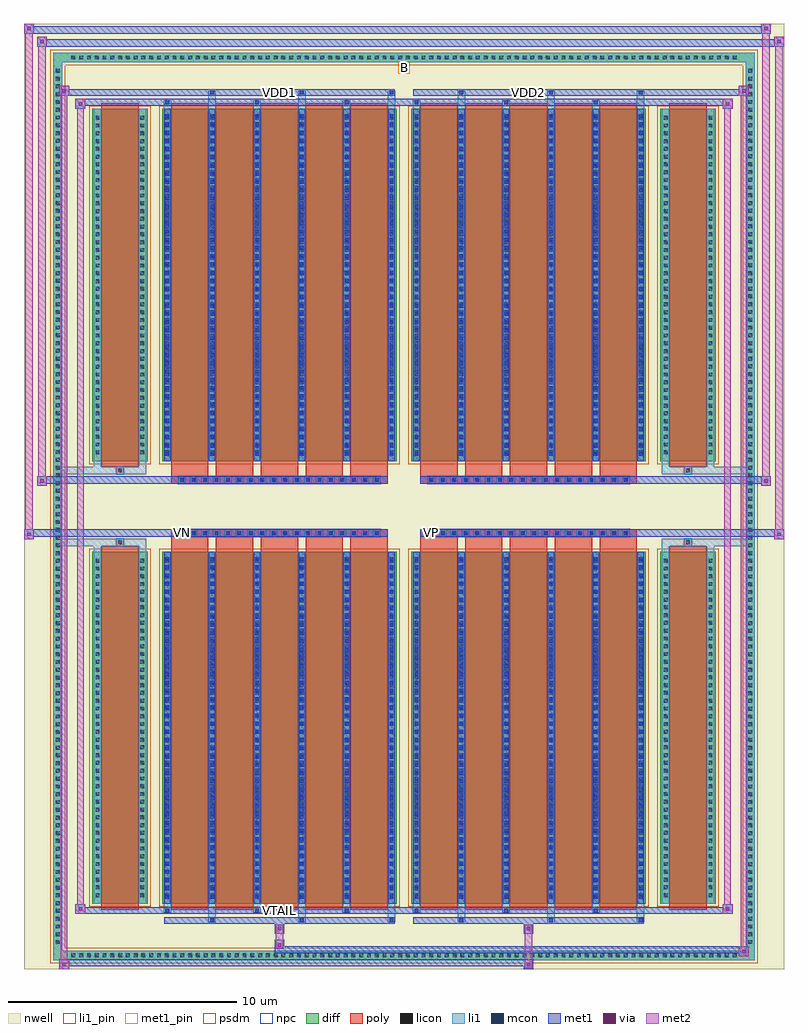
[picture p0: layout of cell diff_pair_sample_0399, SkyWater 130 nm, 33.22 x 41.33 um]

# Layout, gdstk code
import gdstk
lib = gdstk.Library(unit=1e-6, precision=5e-09)
def R(c, l, rs):  # rectangles x0, y0, x1, y1
    for r in rs: c.add(gdstk.rectangle(r[:2], r[2:], *l))
def A(c, l, x, y, w, h, nx, ny, dx, dy):  # array of equal rectangles
    R(c, l, [(x+i*dx, y+j*dy, x+i*dx+w, y+j*dy+h) for i in range(nx) for j in range(ny)])
def P(c, l, *ps):  # polygons
    for p in ps: c.add(gdstk.Polygon(p, *l))
nwell = (64, 20)
diff = (65, 20)
poly = (66, 20)
licon = (66, 44)
li1_pin = (67, 16)
li1 = (67, 20)
mcon = (67, 44)
met1_pin = (68, 16)
met1 = (68, 20)
via = (68, 44)
met2 = (69, 20)
psdm = (94, 20)
npc = (95, 20)

diff_pair_sample_0399 = lib.new_cell('diff_pair_sample_0399')
R(diff_pair_sample_0399, nwell, [(-16.61,-20.23,16.61,21.1), (-13.93,-18.42,-0.01,-0.8), (0.01,-18.42,13.93,-0.8), (-13.93,0.8,-0.01,18.42), (0.01,0.8,13.93,18.42)])
A(diff_pair_sample_0399, diff, -14.655, -19.83, 0.41, 0.41, 86, 2, 0.34, 39.25)
A(diff_pair_sample_0399, diff, -15.34, -19.245, 0.41, 0.41, 1, 113, 0, 0.34)
A(diff_pair_sample_0399, diff, 14.93, -19.245, 0.41, 0.41, 1, 113, 0, 0.34)
R(diff_pair_sample_0399, diff, [(-14.655,-19.83,14.655,-19.42), (-15.34,-19.245,-14.93,19.245), (14.93,-19.245,15.34,19.245), (-13.62,-17.375,-11.21,-1.985), (-10.57,-17.375,-0.32,-1.985), (0.32,-17.375,10.57,-1.985), (11.21,-17.375,13.62,-1.985), (-13.62,1.985,-11.21,17.375), (-10.57,1.985,-0.32,17.375), (0.32,1.985,10.57,17.375), (11.21,1.985,13.62,17.375), (-14.655,19.42,14.655,19.83)])
P(diff_pair_sample_0399, diff, [(15.34,19.83),(-15.34,19.83),(-15.34,-19.42),(-14.93,-19.42),(-14.93,19.42),(14.93,19.42),(14.93,-19.42),(-14.93,-19.42),(-15.34,-19.42),(-15.34,-19.83),(15.34,-19.83)])
A(diff_pair_sample_0399, poly, -10.18, -17.625, 1.63, 15.89, 5, 2, 1.96, 19.36)
A(diff_pair_sample_0399, poly, 0.71, -17.625, 1.63, 15.89, 5, 2, 1.96, 19.36)
A(diff_pair_sample_0399, poly, -10.18, -1.735, 1.63, 0.405, 5, 2, 1.96, 3.065)
A(diff_pair_sample_0399, poly, 0.71, -1.735, 1.63, 0.405, 5, 2, 1.96, 3.065)
A(diff_pair_sample_0399, poly, -9.86, -1.33, 0.33, 0.33, 18, 2, 0.5, 2.33)
A(diff_pair_sample_0399, poly, 1.03, -1.33, 0.33, 0.33, 18, 2, 0.5, 2.33)
R(diff_pair_sample_0399, poly, [(-13.23,-17.625,-11.6,-1.735), (11.6,-17.625,13.23,-1.735), (-12.58,-1.735,-12.25,-1.405), (-12.58,-1.735,-12.25,-1.405), (12.25,-1.735,12.58,-1.405), (12.25,-1.735,12.58,-1.405), (-10.18,-1.33,-0.71,-1), (0.71,-1.33,10.18,-1), (-10.18,1,-0.71,1.33), (0.71,1,10.18,1.33), (-12.58,1.405,-12.25,1.735), (-12.58,1.405,-12.25,1.735), (12.25,1.405,12.58,1.735), (12.25,1.405,12.58,1.735), (-13.23,1.735,-11.6,17.625), (11.6,1.735,13.23,17.625)])
A(diff_pair_sample_0399, licon, -14.535, -19.71, 0.17, 0.17, 86, 2, 0.34, 39.25)
A(diff_pair_sample_0399, licon, -15.22, -19.125, 0.17, 0.17, 1, 113, 0, 0.34)
A(diff_pair_sample_0399, licon, 15.05, -19.125, 0.17, 0.17, 1, 113, 0, 0.34)
A(diff_pair_sample_0399, licon, -13.48, -17.075, 0.17, 0.17, 1, 44, 0, 0.34)
A(diff_pair_sample_0399, licon, -11.52, -17.075, 0.17, 0.17, 1, 44, 0, 0.34)
A(diff_pair_sample_0399, licon, -10.43, -17.075, 0.17, 0.17, 6, 44, 1.96, 0.34)
A(diff_pair_sample_0399, licon, 0.46, -17.075, 0.17, 0.17, 6, 44, 1.96, 0.34)
A(diff_pair_sample_0399, licon, 11.35, -17.075, 0.17, 0.17, 1, 44, 0, 0.34)
A(diff_pair_sample_0399, licon, 13.31, -17.075, 0.17, 0.17, 1, 44, 0, 0.34)
A(diff_pair_sample_0399, licon, -9.78, -1.25, 0.17, 0.17, 18, 2, 0.5, 2.33)
A(diff_pair_sample_0399, licon, 1.11, -1.25, 0.17, 0.17, 18, 2, 0.5, 2.33)
A(diff_pair_sample_0399, licon, -13.48, 2.285, 0.17, 0.17, 1, 44, 0, 0.34)
A(diff_pair_sample_0399, licon, -11.52, 2.285, 0.17, 0.17, 1, 44, 0, 0.34)
A(diff_pair_sample_0399, licon, -10.43, 2.285, 0.17, 0.17, 6, 44, 1.96, 0.34)
A(diff_pair_sample_0399, licon, 0.46, 2.285, 0.17, 0.17, 6, 44, 1.96, 0.34)
A(diff_pair_sample_0399, licon, 11.35, 2.285, 0.17, 0.17, 1, 44, 0, 0.34)
A(diff_pair_sample_0399, licon, 13.31, 2.285, 0.17, 0.17, 1, 44, 0, 0.34)
R(diff_pair_sample_0399, licon, [(-12.5,-1.655,-12.33,-1.485), (12.33,-1.655,12.5,-1.485), (-12.5,1.485,-12.33,1.655), (12.33,1.485,12.5,1.655)])
R(diff_pair_sample_0399, li1_pin, [(-0.25,18.92,0.25,19.42)])
A(diff_pair_sample_0399, li1, -14.615, -19.79, 0.33, 0.33, 86, 2, 0.34, 39.25)
A(diff_pair_sample_0399, li1, -15.3, -19.205, 0.33, 0.33, 1, 113, 0, 0.34)
A(diff_pair_sample_0399, li1, 14.97, -19.205, 0.33, 0.33, 1, 113, 0, 0.34)
A(diff_pair_sample_0399, li1, -8.55, -18.18, 0.33, 0.805, 3, 2, 3.92, 35.555)
A(diff_pair_sample_0399, li1, -8.47, -18.18, 0.17, 0.17, 3, 2, 3.92, 36.19)
A(diff_pair_sample_0399, li1, 2.34, -18.18, 0.33, 0.805, 3, 2, 3.92, 35.555)
A(diff_pair_sample_0399, li1, 2.42, -18.18, 0.17, 0.17, 3, 2, 3.92, 36.19)
A(diff_pair_sample_0399, li1, -10.51, -17.75, 0.33, 0.375, 3, 2, 3.92, 35.125)
A(diff_pair_sample_0399, li1, -10.43, -17.75, 0.17, 0.17, 3, 2, 3.92, 35.33)
A(diff_pair_sample_0399, li1, 0.38, -17.75, 0.33, 0.375, 3, 2, 3.92, 35.125)
A(diff_pair_sample_0399, li1, 0.46, -17.75, 0.17, 0.17, 3, 2, 3.92, 35.33)
A(diff_pair_sample_0399, li1, -10.51, -17.375, 0.33, 15.39, 6, 2, 1.96, 19.36)
A(diff_pair_sample_0399, li1, 0.38, -17.375, 0.33, 15.39, 6, 2, 1.96, 19.36)
A(diff_pair_sample_0399, li1, -13.56, -17.155, 0.33, 0.33, 1, 44, 0, 0.34)
A(diff_pair_sample_0399, li1, -11.6, -17.155, 0.33, 0.33, 1, 44, 0, 0.34)
A(diff_pair_sample_0399, li1, -10.51, -17.155, 0.33, 0.33, 6, 44, 1.96, 0.34)
A(diff_pair_sample_0399, li1, 0.38, -17.155, 0.33, 0.33, 6, 44, 1.96, 0.34)
A(diff_pair_sample_0399, li1, 11.27, -17.155, 0.33, 0.33, 1, 44, 0, 0.34)
A(diff_pair_sample_0399, li1, 13.23, -17.155, 0.33, 0.33, 1, 44, 0, 0.34)
A(diff_pair_sample_0399, li1, -10.43, -17.145, 0.17, 0.17, 6, 42, 1.96, 0.36)
A(diff_pair_sample_0399, li1, -10.43, -17.145, 0.17, 14.93, 6, 2, 1.96, 19.36)
A(diff_pair_sample_0399, li1, 0.46, -17.145, 0.17, 0.17, 6, 42, 1.96, 0.36)
A(diff_pair_sample_0399, li1, 0.46, -17.145, 0.17, 14.93, 6, 2, 1.96, 19.36)
A(diff_pair_sample_0399, li1, -9.86, -1.33, 0.33, 0.33, 18, 2, 0.5, 2.33)
A(diff_pair_sample_0399, li1, 1.03, -1.33, 0.33, 0.33, 18, 2, 0.5, 2.33)
A(diff_pair_sample_0399, li1, -13.56, 2.205, 0.33, 0.33, 1, 44, 0, 0.34)
A(diff_pair_sample_0399, li1, -11.6, 2.205, 0.33, 0.33, 1, 44, 0, 0.34)
A(diff_pair_sample_0399, li1, -10.51, 2.205, 0.33, 0.33, 6, 44, 1.96, 0.34)
A(diff_pair_sample_0399, li1, 0.38, 2.205, 0.33, 0.33, 6, 44, 1.96, 0.34)
A(diff_pair_sample_0399, li1, 11.27, 2.205, 0.33, 0.33, 1, 44, 0, 0.34)
A(diff_pair_sample_0399, li1, 13.23, 2.205, 0.33, 0.33, 1, 44, 0, 0.34)
A(diff_pair_sample_0399, li1, -10.43, 2.215, 0.17, 0.17, 6, 42, 1.96, 0.36)
A(diff_pair_sample_0399, li1, 0.46, 2.215, 0.17, 0.17, 6, 42, 1.96, 0.36)
R(diff_pair_sample_0399, li1, [(-15.34,-19.83,-14.93,-19.42), (-15.34,-19.83,-14.93,-19.42), (-14.93,-19.83,14.93,-19.42), (14.93,-19.83,15.34,-19.42), (14.93,-19.83,15.34,-19.42), (-15.34,-19.42,-14.93,19.42), (14.93,-19.42,15.34,19.42), (-13.56,-17.375,-13.23,-1.985), (-11.6,-17.375,-11.27,-1.985), (11.27,-17.375,11.6,-1.985), (13.23,-17.375,13.56,-1.985), (-13.56,-1.985,-13.23,-1.405), (-11.6,-1.985,-11.27,-1.405), (11.27,-1.985,11.6,-1.405), (13.23,-1.985,13.56,-1.405), (-15.34,-1.735,-12.58,-1.405), (-13.56,-1.735,-12.58,-1.405), (-12.58,-1.735,-12.25,-1.405), (-12.25,-1.735,-11.27,-1.405), (11.27,-1.735,12.25,-1.405), (12.25,-1.735,12.58,-1.405), (12.25,-1.735,15.34,-1.405), (12.58,-1.735,13.56,-1.405), (-15.34,1.405,-12.58,1.735), (-13.56,1.405,-12.58,1.735), (-13.56,1.405,-13.23,1.985), (-12.58,1.405,-12.25,1.735), (-12.25,1.405,-11.27,1.735), (-11.6,1.405,-11.27,1.985), (11.27,1.405,12.25,1.735), (11.27,1.405,11.6,1.985), (12.25,1.405,12.58,1.735), (12.25,1.405,15.34,1.735), (12.58,1.405,13.56,1.735), (13.23,1.405,13.56,1.985), (-13.56,1.985,-13.23,17.375), (-11.6,1.985,-11.27,17.375), (11.27,1.985,11.6,17.375), (13.23,1.985,13.56,17.375), (-15.34,19.42,-14.93,19.83), (-15.34,19.42,-14.93,19.83), (-14.93,19.42,14.93,19.83), (14.93,19.42,15.34,19.83), (14.93,19.42,15.34,19.83)])
A(diff_pair_sample_0399, mcon, -8.47, -18.18, 0.17, 0.17, 3, 2, 3.92, 36.19)
A(diff_pair_sample_0399, mcon, 2.42, -18.18, 0.17, 0.17, 3, 2, 3.92, 36.19)
A(diff_pair_sample_0399, mcon, -10.43, -17.75, 0.17, 0.17, 3, 2, 3.92, 35.33)
A(diff_pair_sample_0399, mcon, 0.46, -17.75, 0.17, 0.17, 3, 2, 3.92, 35.33)
A(diff_pair_sample_0399, mcon, -10.43, -17.145, 0.17, 0.17, 6, 42, 1.96, 0.36)
A(diff_pair_sample_0399, mcon, 0.46, -17.145, 0.17, 0.17, 6, 42, 1.96, 0.36)
A(diff_pair_sample_0399, mcon, -9.78, -1.25, 0.17, 0.17, 18, 2, 0.5, 2.33)
A(diff_pair_sample_0399, mcon, 1.11, -1.25, 0.17, 0.17, 18, 2, 0.5, 2.33)
A(diff_pair_sample_0399, mcon, -10.43, 2.215, 0.17, 0.17, 6, 42, 1.96, 0.36)
A(diff_pair_sample_0399, mcon, 0.46, 2.215, 0.17, 0.17, 6, 42, 1.96, 0.36)
R(diff_pair_sample_0399, met1_pin, [(-5.58,-17.79,-5.31,-17.52), (-9.83,-1.29,-9.56,-1.02), (1.06,-1.29,1.33,-1.02), (-5.58,17.97,-5.31,18.24), (5.31,17.97,5.58,18.24)])
A(diff_pair_sample_0399, met1, -8.53, -18.24, 0.29, 0.29, 3, 2, 3.92, 36.19)
A(diff_pair_sample_0399, met1, 2.36, -18.24, 0.29, 0.29, 3, 2, 3.92, 36.19)
A(diff_pair_sample_0399, met1, -10.49, -17.81, 0.29, 0.29, 3, 2, 3.92, 35.33)
A(diff_pair_sample_0399, met1, 0.4, -17.81, 0.29, 0.29, 3, 2, 3.92, 35.33)
A(diff_pair_sample_0399, met1, -10.49, -17.375, 0.29, 15.39, 6, 2, 1.96, 19.36)
A(diff_pair_sample_0399, met1, 0.4, -17.375, 0.29, 15.39, 6, 2, 1.96, 19.36)
A(diff_pair_sample_0399, met1, -10.49, -17.205, 0.29, 0.29, 6, 42, 1.96, 0.36)
A(diff_pair_sample_0399, met1, 0.4, -17.205, 0.29, 0.29, 6, 42, 1.96, 0.36)
A(diff_pair_sample_0399, met1, -9.84, -1.31, 0.29, 0.29, 18, 2, 0.5, 2.33)
A(diff_pair_sample_0399, met1, 1.05, -1.31, 0.29, 0.29, 18, 2, 0.5, 2.33)
A(diff_pair_sample_0399, met1, -10.49, 2.155, 0.29, 0.29, 6, 42, 1.96, 0.36)
A(diff_pair_sample_0399, met1, 0.4, 2.155, 0.29, 0.29, 6, 42, 1.96, 0.36)
R(diff_pair_sample_0399, met1, [(-15.07,-20.23,-14.64,-19.8), (5.23,-20.23,5.66,-19.8), (-15.07,-20.09,5.66,-19.8), (14.64,-19.66,15.07,-19.23), (-5.66,-19.52,15.07,-19.23), (-5.66,-19.38,-5.23,-18.95), (-5.66,-18.67,-5.23,-18.24), (5.23,-18.67,5.66,-18.24), (-10.49,-18.24,-0.4,-17.95), (0.4,-18.24,10.49,-17.95), (-14.36,-17.81,-13.93,-17.38), (-14.36,-17.81,-10.49,-17.52), (-10.49,-17.81,-0.4,-17.52), (-0.4,-17.81,0.4,-17.52), (0.4,-17.81,10.49,-17.52), (10.49,-17.81,14.36,-17.52), (13.93,-17.81,14.36,-17.38), (-16.61,-1.43,-16.18,-1), (16.18,-1.43,16.61,-1), (-16.61,-1.33,-0.71,-1), (-10.18,-1.33,-0.71,-1), (0.71,-1.33,10.18,-1), (0.71,-1.33,16.61,-1), (-16.04,0.9,-15.61,1.33), (15.61,0.9,16.04,1.33), (-16.04,1,-10.18,1.33), (-10.18,1,-0.71,1.33), (0.71,1,10.18,1.33), (10.18,1,16.04,1.33), (-14.36,17.38,-13.93,17.81), (13.93,17.38,14.36,17.81), (-14.36,17.52,-10.49,17.81), (-10.49,17.52,-0.4,17.81), (-0.4,17.52,0.4,17.81), (0.4,17.52,10.49,17.81), (10.49,17.52,14.36,17.81), (-15.07,17.95,-14.64,18.38), (-15.07,17.95,-10.49,18.24), (-10.49,17.95,-0.4,18.24), (0.4,17.95,10.49,18.24), (10.49,17.95,15.07,18.24), (14.64,17.95,15.07,18.38), (-16.04,20.1,-15.61,20.53), (-16.04,20.1,-13.93,20.43), (-13.93,20.1,13.93,20.43), (13.93,20.1,16.61,20.43), (16.18,20.1,16.61,20.53), (-16.61,20.67,-16.18,21.1), (-16.61,20.67,-13.93,21), (-13.93,20.67,13.93,21), (13.93,20.67,16.04,21), (15.61,20.67,16.04,21.1)])
R(diff_pair_sample_0399, via, [(-14.93,-20.09,-14.78,-19.94), (5.37,-20.09,5.52,-19.94), (14.78,-19.52,14.93,-19.37), (-5.52,-19.24,-5.37,-19.09), (-5.52,-18.53,-5.37,-18.38), (5.37,-18.53,5.52,-18.38), (-14.22,-17.67,-14.07,-17.52), (14.07,-17.67,14.22,-17.52), (-16.47,-1.29,-16.32,-1.14), (16.32,-1.29,16.47,-1.14), (-15.9,1.04,-15.75,1.19), (15.75,1.04,15.9,1.19), (-14.22,17.52,-14.07,17.67), (14.07,17.52,14.22,17.67), (-14.93,18.09,-14.78,18.24), (14.78,18.09,14.93,18.24), (-15.9,20.24,-15.75,20.39), (16.32,20.24,16.47,20.39), (-16.47,20.81,-16.32,20.96), (15.75,20.81,15.9,20.96)])
R(diff_pair_sample_0399, met2, [(-15.07,-20.23,-14.64,-19.8), (-15,-20.23,-14.71,18.38), (-14.71,-20.23,-14.64,-19.8), (-15.02,-20.18,-14.69,-19.85), (5.28,-20.18,5.61,-19.85), (5.28,-19.85,5.61,-18.62), (14.64,-19.66,15.07,-19.23), (14.71,-19.66,15,18.38), (15,-19.66,15.07,-19.23), (14.69,-19.61,15.02,-19.28), (-5.61,-19.33,-5.28,-19), (-5.61,-19,-5.28,-18.62), (-5.61,-18.62,-5.28,-18.29), (5.28,-18.62,5.61,-18.29), (-14.36,-17.81,-13.93,-17.38), (-14.29,-17.81,-14,17.81), (-14,-17.81,-13.93,-17.38), (13.93,-17.81,14.36,-17.38), (14,-17.81,14.29,17.81), (14.29,-17.81,14.36,-17.38), (-14.31,-17.76,-13.98,-17.43), (13.98,-17.76,14.31,-17.43), (-16.61,-1.43,-16.18,-1), (-16.56,-1.43,-16.23,21.1), (-16.23,-1.43,-16.18,-1), (16.18,-1.43,16.61,-1), (16.23,-1.43,16.56,20.53), (16.56,-1.43,16.61,-1), (-16.56,-1.38,-16.23,-1.05), (16.23,-1.38,16.56,-1.05), (-16.04,0.9,-15.61,1.33), (-15.99,0.9,-15.66,20.53), (-15.66,0.9,-15.61,1.33), (15.61,0.9,16.04,1.33), (15.66,0.9,15.99,21.1), (15.99,0.9,16.04,1.33), (-15.99,0.95,-15.66,1.28), (15.66,0.95,15.99,1.28), (-14.36,17.38,-13.93,17.81), (-14,17.38,-13.93,17.81), (13.93,17.38,14.36,17.81), (14.29,17.38,14.36,17.81), (-14.31,17.43,-13.98,17.76), (13.98,17.43,14.31,17.76), (-15.07,17.95,-14.64,18.38), (-14.71,17.95,-14.64,18.38), (14.64,17.95,15.07,18.38), (15,17.95,15.07,18.38), (-15.02,18,-14.69,18.33), (14.69,18,15.02,18.33), (-16.04,20.1,-15.61,20.53), (-15.66,20.1,-15.61,20.53), (16.18,20.1,16.61,20.53), (16.56,20.1,16.61,20.53), (-15.99,20.15,-15.66,20.48), (16.23,20.15,16.56,20.48), (-16.61,20.67,-16.18,21.1), (-16.23,20.67,-16.18,21.1), (15.61,20.67,16.04,21.1), (15.99,20.67,16.04,21.1), (-16.56,20.72,-16.23,21.05), (15.66,20.72,15.99,21.05)])
R(diff_pair_sample_0399, psdm, [(-13.75,-17.505,-11.08,-1.855), (-10.7,-17.505,-0.19,-1.855), (0.19,-17.505,10.7,-1.855), (11.08,-17.505,13.75,-1.855), (-13.75,1.855,-11.08,17.505), (-10.7,1.855,-0.19,17.505), (0.19,1.855,10.7,17.505), (11.08,1.855,13.75,17.505)])
P(diff_pair_sample_0399, psdm, [(15.47,19.96),(-15.47,19.96),(-15.47,-19.29),(-14.8,-19.29),(-14.8,19.29),(14.8,19.29),(14.8,-19.29),(-14.8,-19.29),(-15.47,-19.29),(-15.47,-19.96),(15.47,-19.96)])
A(diff_pair_sample_0399, npc, -9.88, -1.35, 0.37, 0.37, 18, 2, 0.5, 2.33)
A(diff_pair_sample_0399, npc, 1.01, -1.35, 0.37, 0.37, 18, 2, 0.5, 2.33)
R(diff_pair_sample_0399, npc, [(-12.6,-1.755,-12.23,-1.385), (12.23,-1.755,12.6,-1.385), (-9.88,-1.35,-9.01,-0.98), (-9.88,-1.35,-9.01,-0.98), (-9.38,-1.35,-8.51,-0.98), (-9.38,-1.35,-8.51,-0.98), (-8.88,-1.35,-8.01,-0.98), (-8.88,-1.35,-8.01,-0.98), (-8.38,-1.35,-7.51,-0.98), (-8.38,-1.35,-7.51,-0.98), (-7.88,-1.35,-7.01,-0.98), (-7.88,-1.35,-7.01,-0.98), (-7.38,-1.35,-6.51,-0.98), (-7.38,-1.35,-6.51,-0.98), (-6.88,-1.35,-6.01,-0.98), (-6.88,-1.35,-6.01,-0.98), (-6.38,-1.35,-5.51,-0.98), (-6.38,-1.35,-5.51,-0.98), (-5.88,-1.35,-5.01,-0.98), (-5.88,-1.35,-5.01,-0.98), (-5.38,-1.35,-4.51,-0.98), (-5.38,-1.35,-4.51,-0.98), (-4.88,-1.35,-4.01,-0.98), (-4.88,-1.35,-4.01,-0.98), (-4.38,-1.35,-3.51,-0.98), (-4.38,-1.35,-3.51,-0.98), (-3.88,-1.35,-3.01,-0.98), (-3.88,-1.35,-3.01,-0.98), (-3.38,-1.35,-2.51,-0.98), (-3.38,-1.35,-2.51,-0.98), (-2.88,-1.35,-2.01,-0.98), (-2.88,-1.35,-2.01,-0.98), (-2.38,-1.35,-1.51,-0.98), (-2.38,-1.35,-1.51,-0.98), (-1.88,-1.35,-1.01,-0.98), (-1.88,-1.35,-1.01,-0.98), (1.01,-1.35,1.88,-0.98), (1.01,-1.35,1.88,-0.98), (1.51,-1.35,2.38,-0.98), (1.51,-1.35,2.38,-0.98), (2.01,-1.35,2.88,-0.98), (2.01,-1.35,2.88,-0.98), (2.51,-1.35,3.38,-0.98), (2.51,-1.35,3.38,-0.98), (3.01,-1.35,3.88,-0.98), (3.01,-1.35,3.88,-0.98), (3.51,-1.35,4.38,-0.98), (3.51,-1.35,4.38,-0.98), (4.01,-1.35,4.88,-0.98), (4.01,-1.35,4.88,-0.98), (4.51,-1.35,5.38,-0.98), (4.51,-1.35,5.38,-0.98), (5.01,-1.35,5.88,-0.98), (5.01,-1.35,5.88,-0.98), (5.51,-1.35,6.38,-0.98), (5.51,-1.35,6.38,-0.98), (6.01,-1.35,6.88,-0.98), (6.01,-1.35,6.88,-0.98), (6.51,-1.35,7.38,-0.98), (6.51,-1.35,7.38,-0.98), (7.01,-1.35,7.88,-0.98), (7.01,-1.35,7.88,-0.98), (7.51,-1.35,8.38,-0.98), (7.51,-1.35,8.38,-0.98), (8.01,-1.35,8.88,-0.98), (8.01,-1.35,8.88,-0.98), (8.51,-1.35,9.38,-0.98), (8.51,-1.35,9.38,-0.98), (9.01,-1.35,9.88,-0.98), (9.01,-1.35,9.88,-0.98), (-9.88,0.98,-9.01,1.35), (-9.88,0.98,-9.01,1.35), (-9.38,0.98,-8.51,1.35), (-9.38,0.98,-8.51,1.35), (-8.88,0.98,-8.01,1.35), (-8.88,0.98,-8.01,1.35), (-8.38,0.98,-7.51,1.35), (-8.38,0.98,-7.51,1.35), (-7.88,0.98,-7.01,1.35), (-7.88,0.98,-7.01,1.35), (-7.38,0.98,-6.51,1.35), (-7.38,0.98,-6.51,1.35), (-6.88,0.98,-6.01,1.35), (-6.88,0.98,-6.01,1.35), (-6.38,0.98,-5.51,1.35), (-6.38,0.98,-5.51,1.35), (-5.88,0.98,-5.01,1.35), (-5.88,0.98,-5.01,1.35), (-5.38,0.98,-4.51,1.35), (-5.38,0.98,-4.51,1.35), (-4.88,0.98,-4.01,1.35), (-4.88,0.98,-4.01,1.35), (-4.38,0.98,-3.51,1.35), (-4.38,0.98,-3.51,1.35), (-3.88,0.98,-3.01,1.35), (-3.88,0.98,-3.01,1.35), (-3.38,0.98,-2.51,1.35), (-3.38,0.98,-2.51,1.35), (-2.88,0.98,-2.01,1.35), (-2.88,0.98,-2.01,1.35), (-2.38,0.98,-1.51,1.35), (-2.38,0.98,-1.51,1.35), (-1.88,0.98,-1.01,1.35), (-1.88,0.98,-1.01,1.35), (1.01,0.98,1.88,1.35), (1.01,0.98,1.88,1.35), (1.51,0.98,2.38,1.35), (1.51,0.98,2.38,1.35), (2.01,0.98,2.88,1.35), (2.01,0.98,2.88,1.35), (2.51,0.98,3.38,1.35), (2.51,0.98,3.38,1.35), (3.01,0.98,3.88,1.35), (3.01,0.98,3.88,1.35), (3.51,0.98,4.38,1.35), (3.51,0.98,4.38,1.35), (4.01,0.98,4.88,1.35), (4.01,0.98,4.88,1.35), (4.51,0.98,5.38,1.35), (4.51,0.98,5.38,1.35), (5.01,0.98,5.88,1.35), (5.01,0.98,5.88,1.35), (5.51,0.98,6.38,1.35), (5.51,0.98,6.38,1.35), (6.01,0.98,6.88,1.35), (6.01,0.98,6.88,1.35), (6.51,0.98,7.38,1.35), (6.51,0.98,7.38,1.35), (7.01,0.98,7.88,1.35), (7.01,0.98,7.88,1.35), (7.51,0.98,8.38,1.35), (7.51,0.98,8.38,1.35), (8.01,0.98,8.88,1.35), (8.01,0.98,8.88,1.35), (8.51,0.98,9.38,1.35), (8.51,0.98,9.38,1.35), (9.01,0.98,9.88,1.35), (9.01,0.98,9.88,1.35), (-12.6,1.385,-12.23,1.755), (12.23,1.385,12.6,1.755)])
diff_pair_sample_0399.add(gdstk.Label('VTAIL', (-5.445,-17.655), layer=68, texttype=5))
diff_pair_sample_0399.add(gdstk.Label('VN', (-9.695,-1.155), layer=68, texttype=5))
diff_pair_sample_0399.add(gdstk.Label('VP', (1.195,-1.155), layer=68, texttype=5))
diff_pair_sample_0399.add(gdstk.Label('B', (0,19.17), layer=67, texttype=5))
diff_pair_sample_0399.add(gdstk.Label('VDD2', (5.445,18.105), layer=68, texttype=5))
diff_pair_sample_0399.add(gdstk.Label('VDD1', (-5.445,18.105), layer=68, texttype=5))

lib.write_gds('diff_pair_sample_0399.gds')
